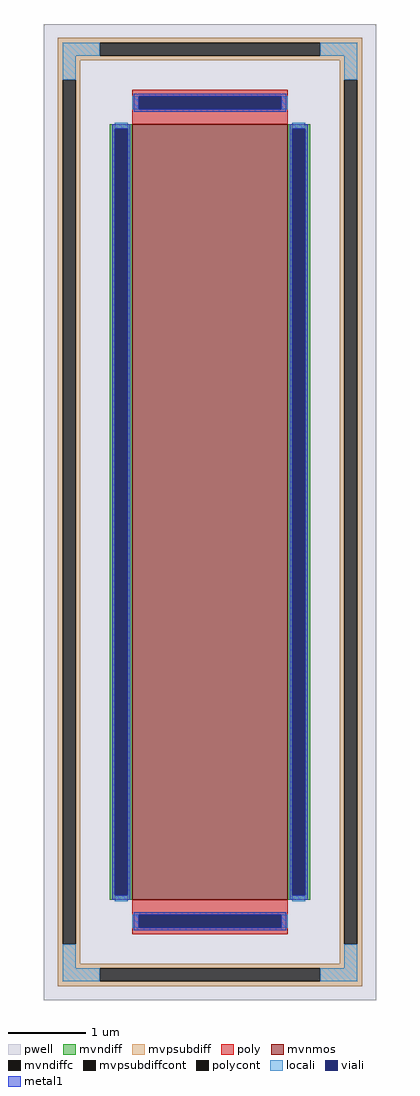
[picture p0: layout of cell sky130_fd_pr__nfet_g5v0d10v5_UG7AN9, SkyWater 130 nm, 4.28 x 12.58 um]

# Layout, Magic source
magic
tech sky130A
<< pwell >>
rect -214 -629 214 629
<< mvnmos >>
rect -100 -500 100 500
<< mvndiff >>
rect -129 494 -100 500
rect -129 -494 -123 494
rect -106 -494 -100 494
rect -129 -500 -100 -494
rect 100 494 129 500
rect 100 -494 106 494
rect 123 -494 129 494
rect 100 -500 129 -494
<< mvndiffc >>
rect -123 -494 -106 494
rect 106 -494 123 494
<< mvpsubdiff >>
rect -196 605 196 611
rect -196 588 -142 605
rect 142 588 196 605
rect -196 582 196 588
rect -196 557 -167 582
rect -196 -557 -190 557
rect -173 -557 -167 557
rect 167 557 196 582
rect -196 -582 -167 -557
rect 167 -557 173 557
rect 190 -557 196 557
rect 167 -582 196 -557
rect -196 -588 196 -582
rect -196 -605 -142 -588
rect 142 -605 196 -588
rect -196 -611 196 -605
<< mvpsubdiffcont >>
rect -142 588 142 605
rect -190 -557 -173 557
rect 173 -557 190 557
rect -142 -605 142 -588
<< poly >>
rect -100 536 100 544
rect -100 519 -92 536
rect 92 519 100 536
rect -100 500 100 519
rect -100 -519 100 -500
rect -100 -536 -92 -519
rect 92 -536 100 -519
rect -100 -544 100 -536
<< polycont >>
rect -92 519 92 536
rect -92 -536 92 -519
<< locali >>
rect -190 588 -142 605
rect 142 588 190 605
rect -190 557 -173 588
rect 173 557 190 588
rect -100 519 -92 536
rect 92 519 100 536
rect -123 494 -106 502
rect -123 -502 -106 -494
rect 106 494 123 502
rect 106 -502 123 -494
rect -100 -536 -92 -519
rect 92 -536 100 -519
rect -190 -588 -173 -557
rect 173 -588 190 -557
rect -190 -605 -142 -588
rect 142 -605 190 -588
<< viali >>
rect -92 519 92 536
rect -123 -494 -106 494
rect 106 -494 123 494
rect -92 -536 92 -519
<< metal1 >>
rect -98 536 98 539
rect -98 519 -92 536
rect 92 519 98 536
rect -98 516 98 519
rect -126 494 -103 500
rect -126 -494 -123 494
rect -106 -494 -103 494
rect -126 -500 -103 -494
rect 103 494 126 500
rect 103 -494 106 494
rect 123 -494 126 494
rect 103 -500 126 -494
rect -98 -519 98 -516
rect -98 -536 -92 -519
rect 92 -536 98 -519
rect -98 -539 98 -536
<< properties >>
string FIXED_BBOX -181 -596 181 596
string gencell sky130_fd_pr__nfet_g5v0d10v5
string library sky130
string parameters w 10 l 2 m 1 nf 1 diffcov 100 polycov 100 guard 1 glc 1 grc 1 gtc 1 gbc 1 tbcov 100 rlcov 100 topc 1 botc 1 poverlap 0 doverlap 1 lmin 0.50 wmin 0.42 compatible {sky130_fd_pr__nfet_01v8 sky130_fd_pr__nfet_01v8_lvt  sky130_fd_bs_flash__special_sonosfet_star  sky130_fd_pr__nfet_g5v0d10v5 sky130_fd_pr__nfet_05v0_nvt  sky130_fd_pr__nfet_03v3_nvt} full_metal 1 viasrc 100 viadrn 100 viagate 100 viagb 0 viagr 0 viagl 0 viagt 0
<< end >>
